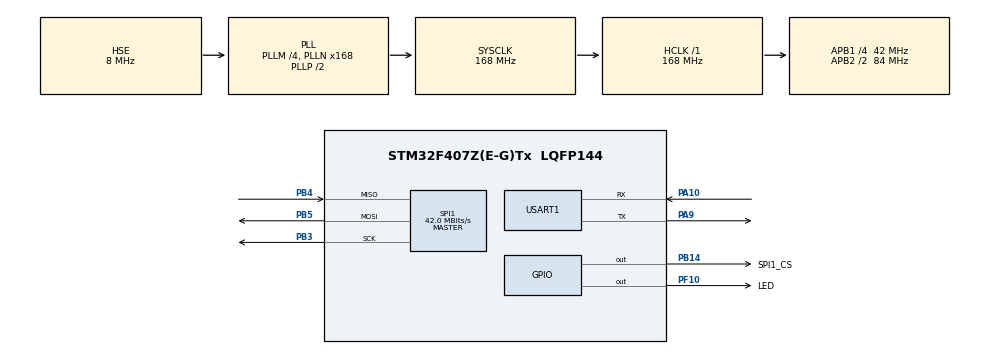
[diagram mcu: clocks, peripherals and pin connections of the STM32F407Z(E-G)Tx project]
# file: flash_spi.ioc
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Mcu.Family=STM32F4
Mcu.Name=STM32F407Z(E-G)Tx
Mcu.Package=LQFP144
NVIC.PriorityGroup=NVIC_PRIORITYGROUP_4
NVIC.USART1_IRQn=true\:0\:0\:false\:false\:true\:true\:true\:true
PA10.Mode=Asynchronous
PA10.Signal=USART1_RX
PA13.Mode=Serial_Wire
PA13.Signal=SYS_JTMS-SWDIO
PA14.Mode=Serial_Wire
PA14.Signal=SYS_JTCK-SWCLK
PA9.Mode=Asynchronous
PA9.Signal=USART1_TX
PB14.GPIO_Label=SPI1_CS
PB14.Signal=GPIO_Output
PB3.Mode=Full_Duplex_Master
PB3.Signal=SPI1_SCK
PB4.Mode=Full_Duplex_Master
PB4.Signal=SPI1_MISO
PB5.Mode=Full_Duplex_Master
PB5.Signal=SPI1_MOSI
PF10.GPIO_Label=LED
PF10.Signal=GPIO_Output
PH0-OSC_IN.Mode=HSE-External-Oscillator
PH0-OSC_IN.Signal=RCC_OSC_IN
PH1-OSC_OUT.Mode=HSE-External-Oscillator
PH1-OSC_OUT.Signal=RCC_OSC_OUT
ProjectManager.HeapSize=0x200
ProjectManager.StackSize=0x400
ProjectManager.TargetToolchain=SW4STM32
RCC.48MHZClocksFreq_Value=84000000
RCC.AHBFreq_Value=168000000
RCC.APB1CLKDivider=RCC_HCLK_DIV4
RCC.APB1Freq_Value=42000000
RCC.APB1TimFreq_Value=84000000
RCC.APB2CLKDivider=RCC_HCLK_DIV2
RCC.APB2Freq_Value=84000000
RCC.APB2TimFreq_Value=168000000
RCC.CortexFreq_Value=168000000
RCC.HCLKFreq_Value=168000000
RCC.HSE_VALUE=8000000
RCC.HSI_VALUE=16000000
RCC.LSE_VALUE=32768
RCC.PLLM=4
RCC.PLLN=168
RCC.PLLSourceVirtual=RCC_PLLSOURCE_HSE
RCC.SYSCLKFreq_VALUE=168000000
RCC.SYSCLKSource=RCC_SYSCLKSOURCE_PLLCLK
RCC.VCOOutputFreq_Value=336000000
SPI1.CalculateBaudRate=42.0 MBits/s
SPI1.Direction=SPI_DIRECTION_2LINES
SPI1.Mode=SPI_MODE_MASTER
SPI1.VirtualType=VM_MASTER
USART1.VirtualMode=VM_ASYNC
board=custom

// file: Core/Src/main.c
/* USER CODE BEGIN Header */
/**
  ******************************************************************************
  * @file           : main.c
  * @brief          : Main program body
  ******************************************************************************
  * @attention
  *
  * Copyright (c) 2022 STMicroelectronics.
  * All rights reserved.
  *
  * This software is licensed under terms that can be found in the LICENSE file
  * in the root directory of this software component.
  * If no LICENSE file comes with this software, it is provided AS-IS.
  *
  ******************************************************************************
  */
/* USER CODE END Header */
#include "main.h"
#include "spi.h"
#include "usart.h"
#include "gpio.h"

/* USER CODE BEGIN Includes */
#include "bsp_usart.h"
#include "bsp_flash_spi.h"
/* USER CODE END Includes */

/* USER CODE BEGIN PV */
extern uint8_t aRxBuffer;
uint8_t WriteBuffer[W25X_WritePageSize] = {"-------------This is Flash test-----------\r\n------------Hello World!!!-----------"};
uint8_t ReadBuffer[W25X_WritePageSize];
/* USER CODE END PV */

void SystemClock_Config(void);

int main(void)
{
  /* USER CODE BEGIN 1 */
    uint32_t id;
  /* USER CODE END 1 */

  /* MCU Configuration--------------------------------------------------------*/

  /* Reset of all peripherals, Initializes the Flash interface and the Systick. */
  HAL_Init();

  /* Configure the system clock */
  SystemClock_Config();

  /* Initialize all configured peripherals */
  MX_GPIO_Init();
  MX_SPI1_Init();
  MX_USART1_UART_Init();
  /* USER CODE BEGIN 2 */
    HAL_UART_Receive_IT(&huart1, &aRxBuffer, 1);
    id = W25xx_GetID();
    if(id >> 24 == 0)
        printf("0x%2X %2X%2X\r\n",(uint8_t)((id & 0xFF0000U) >> 16),
               (uint8_t)((id & 0xFF00U) >> 8),
               (uint8_t)(id & 0xFF));
    else
        printf("Flash test false!\r\n");
    if(W25xx_SectorErase(4096 * 8) == W25X_OK)
        printf("Flash erase success!\r\n");
    else
        printf("Flash erase false!\r\n");
    if(W25xx_Write(4096 * 8 + 250, WriteBuffer, strlen((const char *)WriteBuffer)) == W25X_OK)
        printf("Flash write success!\r\n");
    else
        printf("Flash write false!\r\n");
    if(W25xx_Read(4096 * 8 + 250, ReadBuffer, strlen((const char *)WriteBuffer)) == W25X_OK)
        printf("%s\r\n", ReadBuffer);
    else
        printf("Flash read false!\r\n");
  /* USER CODE END 2 */

  /* Infinite loop */
  while (1)
  {

    /* USER CODE BEGIN 3 */
      HAL_GPIO_TogglePin(LED_GPIO_Port, LED_Pin);
      HAL_Delay(1000);
  }
  /* USER CODE END 3 */
}

void SystemClock_Config(void)
{
  RCC_OscInitTypeDef RCC_OscInitStruct = {0};
  RCC_ClkInitTypeDef RCC_ClkInitStruct = {0};

  /** Configure the main internal regulator output voltage
  */
  __HAL_RCC_PWR_CLK_ENABLE();
  __HAL_PWR_VOLTAGESCALING_CONFIG(PWR_REGULATOR_VOLTAGE_SCALE1);

  /** Initializes the RCC Oscillators according to the specified parameters
  * in the RCC_OscInitTypeDef structure.
  */
  RCC_OscInitStruct.OscillatorType = RCC_OSCILLATORTYPE_HSE;
  RCC_OscInitStruct.HSEState = RCC_HSE_ON;
  RCC_OscInitStruct.PLL.PLLState = RCC_PLL_ON;
  RCC_OscInitStruct.PLL.PLLSource = RCC_PLLSOURCE_HSE;
  RCC_OscInitStruct.PLL.PLLM = 4;
  RCC_OscInitStruct.PLL.PLLN = 168;
  RCC_OscInitStruct.PLL.PLLP = RCC_PLLP_DIV2;
  RCC_OscInitStruct.PLL.PLLQ = 4;
  if (HAL_RCC_OscConfig(&RCC_OscInitStruct) != HAL_OK)
  {
    Error_Handler();
  }

  /** Initializes the CPU, AHB and APB buses clocks
  */
  RCC_ClkInitStruct.ClockType = RCC_CLOCKTYPE_HCLK|RCC_CLOCKTYPE_SYSCLK
                              |RCC_CLOCKTYPE_PCLK1|RCC_CLOCKTYPE_PCLK2;
  RCC_ClkInitStruct.SYSCLKSource = RCC_SYSCLKSOURCE_PLLCLK;
  RCC_ClkInitStruct.AHBCLKDivider = RCC_SYSCLK_DIV1;
  RCC_ClkInitStruct.APB1CLKDivider = RCC_HCLK_DIV4;
  RCC_ClkInitStruct.APB2CLKDivider = RCC_HCLK_DIV2;

  if (HAL_RCC_ClockConfig(&RCC_ClkInitStruct, FLASH_LATENCY_5) != HAL_OK)
  {
    Error_Handler();
  }
}

void Error_Handler(void)
{
  __disable_irq();
  while (1)
  {
  }
}
